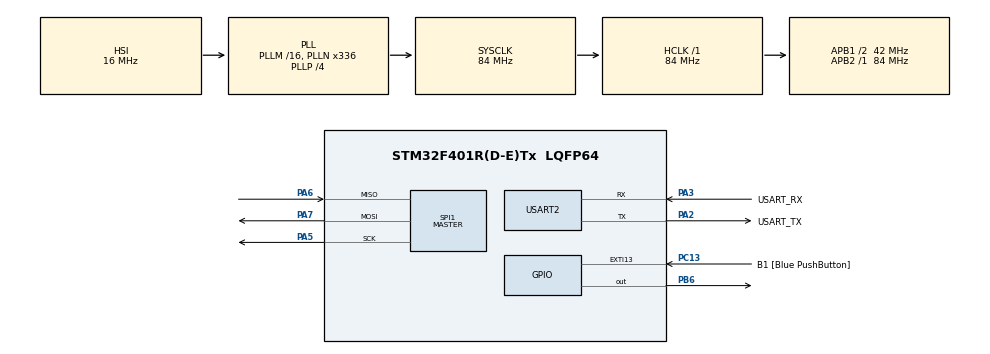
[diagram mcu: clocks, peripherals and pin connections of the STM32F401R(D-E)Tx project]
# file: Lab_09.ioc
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Dma.Request0=SPI1_TX
Dma.SPI1_TX.0.Direction=DMA_MEMORY_TO_PERIPH
Dma.SPI1_TX.0.FIFOMode=DMA_FIFOMODE_DISABLE
Dma.SPI1_TX.0.Instance=DMA2_Stream3
Dma.SPI1_TX.0.MemDataAlignment=DMA_MDATAALIGN_BYTE
Dma.SPI1_TX.0.MemInc=DMA_MINC_ENABLE
Dma.SPI1_TX.0.Mode=DMA_NORMAL
Dma.SPI1_TX.0.PeriphDataAlignment=DMA_PDATAALIGN_BYTE
Dma.SPI1_TX.0.PeriphInc=DMA_PINC_DISABLE
Dma.SPI1_TX.0.Priority=DMA_PRIORITY_LOW
Mcu.Family=STM32F4
Mcu.Name=STM32F401R(D-E)Tx
Mcu.Package=LQFP64
NVIC.DMA2_Stream3_IRQn=true\:0\:0\:false\:false\:true\:false\:true\:true
NVIC.PriorityGroup=NVIC_PRIORITYGROUP_0
NVIC.TIM2_IRQn=true\:0\:0\:false\:false\:true\:true\:true\:true
NVIC.TIM3_IRQn=true\:0\:0\:false\:false\:true\:true\:true\:true
PA13.GPIO_Label=TMS
PA13.Mode=Serial_Wire
PA13.Signal=SYS_JTMS-SWDIO
PA14.GPIO_Label=TCK
PA14.Mode=Serial_Wire
PA14.Signal=SYS_JTCK-SWCLK
PA2.GPIO_Label=USART_TX
PA2.GPIO_Mode=GPIO_MODE_AF_PP
PA2.GPIO_PuPd=GPIO_NOPULL
PA2.GPIO_Speed=GPIO_SPEED_FREQ_LOW
PA2.Mode=Asynchronous
PA2.Signal=USART2_TX
PA3.GPIO_Label=USART_RX
PA3.GPIO_Mode=GPIO_MODE_AF_PP
PA3.GPIO_PuPd=GPIO_NOPULL
PA3.GPIO_Speed=GPIO_SPEED_FREQ_LOW
PA3.Mode=Asynchronous
PA3.Signal=USART2_RX
PA5.Mode=Full_Duplex_Master
PA5.Signal=SPI1_SCK
PA6.Mode=Full_Duplex_Master
PA6.Signal=SPI1_MISO
PA7.Mode=Full_Duplex_Master
PA7.Signal=SPI1_MOSI
PB3.GPIO_Label=SWO
PB3.Signal=SYS_JTDO-SWO
PB6.Signal=GPIO_Output
PC13-ANTI_TAMP.GPIO_Label=B1 [Blue PushButton]
PC13-ANTI_TAMP.GPIO_ModeDefaultEXTI=GPIO_MODE_IT_FALLING
PC13-ANTI_TAMP.GPIO_PuPd=GPIO_NOPULL
PC13-ANTI_TAMP.Signal=GPXTI13
PC14-OSC32_IN.Mode=LSE-External-Oscillator
PC14-OSC32_IN.Signal=RCC_OSC32_IN
PC15-OSC32_OUT.Mode=LSE-External-Oscillator
PC15-OSC32_OUT.Signal=RCC_OSC32_OUT
PH0\ -\ OSC_IN.Mode=HSE-External-Clock-Source
PH0\ -\ OSC_IN.Signal=RCC_OSC_IN
PH1\ -\ OSC_OUT.Mode=HSE-External-Clock-Source
PH1\ -\ OSC_OUT.Signal=RCC_OSC_OUT
ProjectManager.HeapSize=0x200
ProjectManager.StackSize=0x400
ProjectManager.TargetToolchain=STM32CubeIDE
RCC.48MHZClocksFreq_Value=48000000
RCC.AHBFreq_Value=84000000
RCC.APB1CLKDivider=RCC_HCLK_DIV2
RCC.APB1Freq_Value=42000000
RCC.APB1TimFreq_Value=84000000
RCC.APB2Freq_Value=84000000
RCC.APB2TimFreq_Value=84000000
RCC.CortexFreq_Value=84000000
RCC.HCLKFreq_Value=84000000
RCC.HSE_VALUE=8000000
RCC.HSI_VALUE=16000000
RCC.PLLN=336
RCC.PLLP=RCC_PLLP_DIV4
RCC.PLLQ=7
RCC.SYSCLKFreq_VALUE=84000000
RCC.SYSCLKSource=RCC_SYSCLKSOURCE_PLLCLK
RCC.VCOOutputFreq_Value=336000000
SPI1.BaudRatePrescaler=SPI_BAUDRATEPRESCALER_4
SPI1.Direction=SPI_DIRECTION_2LINES
SPI1.Mode=SPI_MODE_MASTER
SPI1.VirtualType=VM_MASTER
TIM2.Period=40-1
TIM2.Prescaler=8400-1
TIM3.Period=10000-1
TIM3.Prescaler=8400-1
USART2.VirtualMode=VM_ASYNC
VP_TIM2_VS_ClockSourceINT.Mode=Internal
VP_TIM3_VS_ClockSourceINT.Mode=Internal
board=NUCLEO-F401RE

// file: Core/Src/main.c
/* USER CODE BEGIN Header */
/**
  ******************************************************************************
  * @file           : main.c
  * @brief          : Main program body
  ******************************************************************************
  * @attention
  *
  * Copyright (c) 2024 STMicroelectronics.
  * All rights reserved.
  *
  * This software is licensed under terms that can be found in the LICENSE file
  * in the root directory of this software component.
  * If no LICENSE file comes with this software, it is provided AS-IS.
  *
  ******************************************************************************
  */
/* USER CODE END Header */
#include "main.h"

SPI_HandleTypeDef hspi1;
DMA_HandleTypeDef hdma_spi1_tx;

TIM_HandleTypeDef htim2;
TIM_HandleTypeDef htim3;

UART_HandleTypeDef huart2;

/* USER CODE BEGIN PV */

uint8_t coord[4][5][2]={ //letter, row, column
		{{31,16}, //A
		{36,8},
		{68,4},
		{36,2},
		{31,1}},

		{{127,16}, //B
		{73,8},
		{73,4},
		{73,2},
		{54,1}},

		{{62,16}, //O
		{65,8},
		{65,4},
		{65,2},
		{62,1}},

		{{99,16}, //X
		{20,8},
		{8,4},
		{20,2},
		{99,1}},

};
int i=0,j=0;

int numElements = sizeof(coord) / sizeof(coord[0]);
/* USER CODE END PV */

void SystemClock_Config(void);
static void MX_GPIO_Init(void);
static void MX_DMA_Init(void);
static void MX_USART2_UART_Init(void);
static void MX_SPI1_Init(void);
static void MX_TIM2_Init(void);
static void MX_TIM3_Init(void);

/* USER CODE BEGIN 0 */
void HAL_TIM_PeriodElapsedCallback(TIM_HandleTypeDef *htim) {
	if (htim->Instance == TIM2) { //tim2 every 4ms, change column
		//HAL_TIM_Base_Stop_IT(&htim2);

		//THE VERSION WITHOUT THE DMA
		HAL_GPIO_WritePin(GPIOB, GPIO_PIN_6, GPIO_PIN_SET); //pulse the RCLK, PIN PB6
		HAL_SPI_Transmit(&hspi1, coord[j][i], 2,100); //transmit the column
		HAL_GPIO_WritePin(GPIOB, GPIO_PIN_6, GPIO_PIN_RESET);

		i=(i+1)%5; //iterate over the 5 columns

		//HAL_TIM_Base_Start_IT(&htim2);
	}
	if (htim->Instance == TIM3) { //tim3 every 1s, change letter
		j=(j+1)%numElements;
	}
}

/* USER CODE END 0 */

int main(void)
{

  /* MCU Configuration--------------------------------------------------------*/

  /* Reset of all peripherals, Initializes the Flash interface and the Systick. */
  HAL_Init();

  /* Configure the system clock */
  SystemClock_Config();

  /* Initialize all configured peripherals */
  MX_GPIO_Init();
  MX_DMA_Init();
  MX_USART2_UART_Init();
  MX_SPI1_Init();
  MX_TIM2_Init();
  MX_TIM3_Init();
  /* USER CODE BEGIN 2 */
  HAL_TIM_Base_Start_IT(&htim2);
  HAL_TIM_Base_Start_IT(&htim3);

  /* USER CODE END 2 */

  /* Infinite loop */
  while (1)
  {

  }
}

void SystemClock_Config(void)
{
  RCC_OscInitTypeDef RCC_OscInitStruct = {0};
  RCC_ClkInitTypeDef RCC_ClkInitStruct = {0};

  /** Configure the main internal regulator output voltage
  */
  __HAL_RCC_PWR_CLK_ENABLE();
  __HAL_PWR_VOLTAGESCALING_CONFIG(PWR_REGULATOR_VOLTAGE_SCALE2);

  /** Initializes the RCC Oscillators according to the specified parameters
  * in the RCC_OscInitTypeDef structure.
  */
  RCC_OscInitStruct.OscillatorType = RCC_OSCILLATORTYPE_HSI;
  RCC_OscInitStruct.HSIState = RCC_HSI_ON;
  RCC_OscInitStruct.HSICalibrationValue = RCC_HSICALIBRATION_DEFAULT;
  RCC_OscInitStruct.PLL.PLLState = RCC_PLL_ON;
  RCC_OscInitStruct.PLL.PLLSource = RCC_PLLSOURCE_HSI;
  RCC_OscInitStruct.PLL.PLLM = 16;
  RCC_OscInitStruct.PLL.PLLN = 336;
  RCC_OscInitStruct.PLL.PLLP = RCC_PLLP_DIV4;
  RCC_OscInitStruct.PLL.PLLQ = 7;
  if (HAL_RCC_OscConfig(&RCC_OscInitStruct) != HAL_OK)
  {
    Error_Handler();
  }

  /** Initializes the CPU, AHB and APB buses clocks
  */
  RCC_ClkInitStruct.ClockType = RCC_CLOCKTYPE_HCLK|RCC_CLOCKTYPE_SYSCLK
                              |RCC_CLOCKTYPE_PCLK1|RCC_CLOCKTYPE_PCLK2;
  RCC_ClkInitStruct.SYSCLKSource = RCC_SYSCLKSOURCE_PLLCLK;
  RCC_ClkInitStruct.AHBCLKDivider = RCC_SYSCLK_DIV1;
  RCC_ClkInitStruct.APB1CLKDivider = RCC_HCLK_DIV2;
  RCC_ClkInitStruct.APB2CLKDivider = RCC_HCLK_DIV1;

  if (HAL_RCC_ClockConfig(&RCC_ClkInitStruct, FLASH_LATENCY_2) != HAL_OK)
  {
    Error_Handler();
  }
}

static void MX_SPI1_Init(void)
{

  /* SPI1 parameter configuration*/
  hspi1.Instance = SPI1;
  hspi1.Init.Mode = SPI_MODE_MASTER;
  hspi1.Init.Direction = SPI_DIRECTION_2LINES;
  hspi1.Init.DataSize = SPI_DATASIZE_8BIT;
  hspi1.Init.CLKPolarity = SPI_POLARITY_LOW;
  hspi1.Init.CLKPhase = SPI_PHASE_1EDGE;
  hspi1.Init.NSS = SPI_NSS_SOFT;
  hspi1.Init.BaudRatePrescaler = SPI_BAUDRATEPRESCALER_4;
  hspi1.Init.FirstBit = SPI_FIRSTBIT_MSB;
  hspi1.Init.TIMode = SPI_TIMODE_DISABLE;
  hspi1.Init.CRCCalculation = SPI_CRCCALCULATION_DISABLE;
  hspi1.Init.CRCPolynomial = 10;
  if (HAL_SPI_Init(&hspi1) != HAL_OK)
  {
    Error_Handler();
  }

}

static void MX_TIM2_Init(void)
{

  TIM_ClockConfigTypeDef sClockSourceConfig = {0};
  TIM_MasterConfigTypeDef sMasterConfig = {0};

  htim2.Instance = TIM2;
  htim2.Init.Prescaler = 8400-1;
  htim2.Init.CounterMode = TIM_COUNTERMODE_UP;
  htim2.Init.Period = 40-1;
  htim2.Init.ClockDivision = TIM_CLOCKDIVISION_DIV1;
  htim2.Init.AutoReloadPreload = TIM_AUTORELOAD_PRELOAD_DISABLE;
  if (HAL_TIM_Base_Init(&htim2) != HAL_OK)
  {
    Error_Handler();
  }
  sClockSourceConfig.ClockSource = TIM_CLOCKSOURCE_INTERNAL;
  if (HAL_TIM_ConfigClockSource(&htim2, &sClockSourceConfig) != HAL_OK)
  {
    Error_Handler();
  }
  sMasterConfig.MasterOutputTrigger = TIM_TRGO_RESET;
  sMasterConfig.MasterSlaveMode = TIM_MASTERSLAVEMODE_DISABLE;
  if (HAL_TIMEx_MasterConfigSynchronization(&htim2, &sMasterConfig) != HAL_OK)
  {
    Error_Handler();
  }

}

static void MX_TIM3_Init(void)
{

  TIM_ClockConfigTypeDef sClockSourceConfig = {0};
  TIM_MasterConfigTypeDef sMasterConfig = {0};

  htim3.Instance = TIM3;
  htim3.Init.Prescaler = 8400-1;
  htim3.Init.CounterMode = TIM_COUNTERMODE_UP;
  htim3.Init.Period = 10000-1;
  htim3.Init.ClockDivision = TIM_CLOCKDIVISION_DIV1;
  htim3.Init.AutoReloadPreload = TIM_AUTORELOAD_PRELOAD_DISABLE;
  if (HAL_TIM_Base_Init(&htim3) != HAL_OK)
  {
    Error_Handler();
  }
  sClockSourceConfig.ClockSource = TIM_CLOCKSOURCE_INTERNAL;
  if (HAL_TIM_ConfigClockSource(&htim3, &sClockSourceConfig) != HAL_OK)
  {
    Error_Handler();
  }
  sMasterConfig.MasterOutputTrigger = TIM_TRGO_RESET;
  sMasterConfig.MasterSlaveMode = TIM_MASTERSLAVEMODE_DISABLE;
  if (HAL_TIMEx_MasterConfigSynchronization(&htim3, &sMasterConfig) != HAL_OK)
  {
    Error_Handler();
  }

}

static void MX_USART2_UART_Init(void)
{

  huart2.Instance = USART2;
  huart2.Init.BaudRate = 115200;
  huart2.Init.WordLength = UART_WORDLENGTH_8B;
  huart2.Init.StopBits = UART_STOPBITS_1;
  huart2.Init.Parity = UART_PARITY_NONE;
  huart2.Init.Mode = UART_MODE_TX_RX;
  huart2.Init.HwFlowCtl = UART_HWCONTROL_NONE;
  huart2.Init.OverSampling = UART_OVERSAMPLING_16;
  if (HAL_UART_Init(&huart2) != HAL_OK)
  {
    Error_Handler();
  }

}

static void MX_DMA_Init(void)
{

  /* DMA controller clock enable */
  __HAL_RCC_DMA2_CLK_ENABLE();

  /* DMA interrupt init */
  /* DMA2_Stream3_IRQn interrupt configuration */
  HAL_NVIC_SetPriority(DMA2_Stream3_IRQn, 0, 0);
  HAL_NVIC_EnableIRQ(DMA2_Stream3_IRQn);

}

static void MX_GPIO_Init(void)
{
  GPIO_InitTypeDef GPIO_InitStruct = {0};

  /* GPIO Ports Clock Enable */
  __HAL_RCC_GPIOC_CLK_ENABLE();
  __HAL_RCC_GPIOH_CLK_ENABLE();
  __HAL_RCC_GPIOA_CLK_ENABLE();
  __HAL_RCC_GPIOB_CLK_ENABLE();

  /*Configure GPIO pin Output Level */
  HAL_GPIO_WritePin(GPIOB, GPIO_PIN_6, GPIO_PIN_RESET);

  /*Configure GPIO pin : B1_Pin */
  GPIO_InitStruct.Pin = B1_Pin;
  GPIO_InitStruct.Mode = GPIO_MODE_IT_FALLING;
  GPIO_InitStruct.Pull = GPIO_NOPULL;
  HAL_GPIO_Init(B1_GPIO_Port, &GPIO_InitStruct);

  /*Configure GPIO pin : PB6 */
  GPIO_InitStruct.Pin = GPIO_PIN_6;
  GPIO_InitStruct.Mode = GPIO_MODE_OUTPUT_PP;
  GPIO_InitStruct.Pull = GPIO_NOPULL;
  GPIO_InitStruct.Speed = GPIO_SPEED_FREQ_LOW;
  HAL_GPIO_Init(GPIOB, &GPIO_InitStruct);

}

void Error_Handler(void)
{
  __disable_irq();
  while (1)
  {
  }
}
